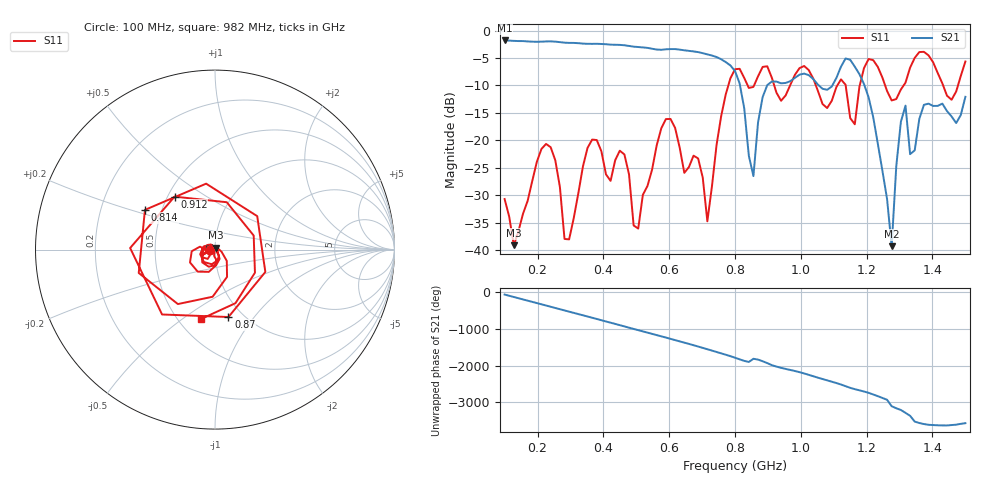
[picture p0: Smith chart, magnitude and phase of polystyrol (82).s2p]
! NanoVNA-App
! Date: 2025-09-25 15:30:32
! Start: 100MHz Stop: 1,5GHz Points: 101
! S-Parameter data: F S11 S21 S12 S22
# Hz S RI R 50
!  Frequency  S11_Real  S11_Imag  S21_Real  S21_Imag  S12_Real  S12_Imag  S22_Real  S22_Imag
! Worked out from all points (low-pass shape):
!   101 points, 100 MHz to 1.5 GHz, reference 50 ohm
!   highest |S21| = -1.80 dB at 100 MHz (marker M1); lowest = -39.3 dB at 1.276 GHz (marker M2)
!   |S21| within 3 dB of the highest: start of sweep to 743 MHz
!   lowest |S11| = -39.1 dB at 128 MHz (marker M3), VSWR 1.02, Z = 50.3 + j1.06 ohm
!   |S11| at or under -10 dB: start of sweep to 779.7 MHz; 1.046 GHz to 1.111 GHz (65.25 MHz wide, 6.05 % of centre); 1.256 GHz to 1.312 GHz (56.1 MHz wide, 4.37 % of centre) (the widest 3 of 7)
!   S12 and S22 are empty: the file has one direction only
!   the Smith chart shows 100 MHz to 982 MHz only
!   S11 on the Smith chart (normalised r, x): 100 MHz: 0.94, -0.01; 814 MHz: 0.40, +0.22; 870 MHz: 0.86, -0.75; 912 MHz: 0.54, +0.37; 982 MHz: 0.64, -0.59
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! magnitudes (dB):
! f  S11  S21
! 100 MHz  -30.7  -1.8
! 128 MHz  -39.1  -1.9
! 212 MHz  -21.6  -2.0
! 282 MHz  -38.0  -2.2
! 338 MHz  -24.8  -2.4
! 464 MHz  -22.6  -2.7
! 506 MHz  -36.1  -3.0
! 576 MHz  -17.8  -3.5
! 688 MHz  -23.3  -3.9
! 716 MHz  -34.8  -4.3
! 800 MHz  -7.0  -7.4
! 814 MHz  -7.0  -9.6
! 856 MHz  -10.3  -26.5
! 870 MHz  -8.3  -16.7
! 912 MHz  -8.6  -9.3
! 982 MHz  -8.1  -8.6
! 1.038 GHz  -8.8  -8.9
! 1.178 GHz  -10.2  -7.9
! 1.276 GHz  -12.7  -39.3
! 1.318 GHz  -9.5  -13.7
! 1.332 GHz  -6.8  -22.5
! 1.5 GHz  -5.6  -12.1
